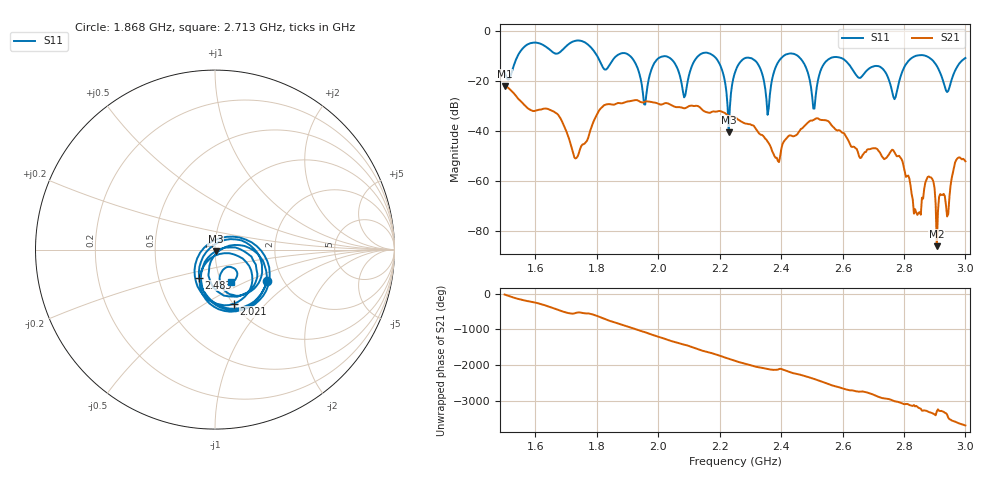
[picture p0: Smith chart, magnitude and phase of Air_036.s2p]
# HZ S RI R 50
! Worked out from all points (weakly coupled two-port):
!   404 points, 1.5 GHz to 3 GHz, reference 50 ohm
!   highest |S21| = -21.89 dB at 1.5 GHz (marker M1); lowest = -85.9 dB at 2.907 GHz (marker M2)
!   lowest |S11| = -40.3 dB at 2.23 GHz (marker M3), VSWR 1.02, Z = 50.4 - j0.882 ohm
!   |S11| at or under -10 dB: 2.182 GHz to 2.406 GHz (224 MHz wide, 9.76 % of centre); 2.456 GHz to 2.834 GHz (378.1 MHz wide, 14.3 % of centre); 2.875 GHz to end of sweep (the widest 3 of 7)
!   S12 and S22 are empty: the file has one direction only
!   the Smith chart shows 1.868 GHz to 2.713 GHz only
!   S11 on the Smith chart (normalised r, x): 1.868 GHz: 1.65, -0.66; 2.021 GHz: 1.01, -0.68; 2.483 GHz: 0.80, -0.26; 2.713 GHz: 1.11, -0.42
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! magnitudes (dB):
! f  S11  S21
! 1.5 GHz  -16.2  -21.9
! 1.753 GHz  -3.9  -45.3
! 1.868 GHz  -9.4  -28.6
! 1.958 GHz  -29.3  -28.1
! 2.002 GHz  -10.6  -29.0
! 2.021 GHz  -9.9  -28.8
! 2.084 GHz  -26.4  -30.8
! 2.177 GHz  -9.5  -32.1
! 2.23 GHz  -40.3  -33.8
! 2.252 GHz  -15.8  -34.5
! 2.315 GHz  -11.7  -38.5
! 2.356 GHz  -33.4  -44.1
! 2.386 GHz  -13.4  -50.5
! 2.483 GHz  -14.9  -37.0
! 2.501 GHz  -26.1  -35.7
! 2.561 GHz  -10.7  -36.9
! 2.713 GHz  -13.8  -47.1
! 2.751 GHz  -19.3  -49.3
! 2.84 GHz  -9.7  -72.4
! 2.881 GHz  -10.4  -58.0
! 2.907 GHz  -13.8  -85.9
! 3 GHz  -10.6  -52.0
